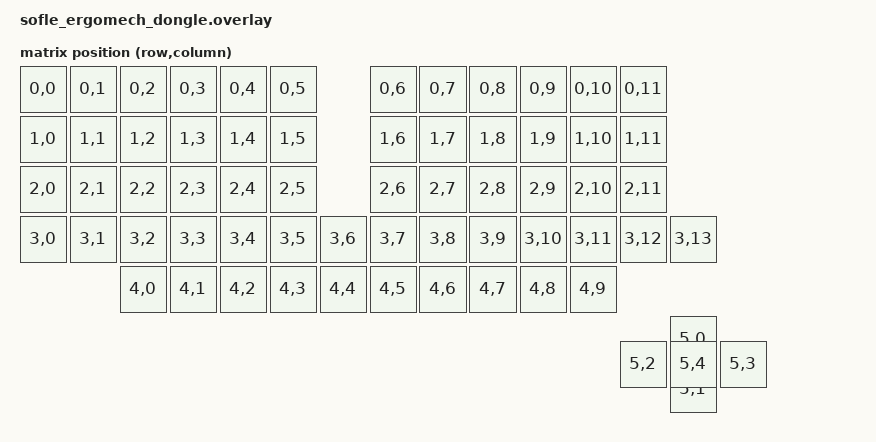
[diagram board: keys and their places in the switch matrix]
#include <dt-bindings/zmk/matrix_transform.h>

/ {
    chosen {
        zmk,kscan = &mock_kscan;
        zmk,matrix-transform = &default_transform;
        zmk,physical-layout = &physical_layout;
    };

    mock_kscan: mock_kscan_0 {
        compatible = "zmk,kscan-mock";
        columns = <0>;
        rows = <0>;
        events = <0>;
    };

    default_transform: keymap_transform_0 {
        compatible = "zmk,matrix-transform";
        columns = <14>;
        rows = <8>;
        map = <
            // Left side (6x4 main keys + encoder/5-way switch)
            RC(0,0) RC(0,1) RC(0,2) RC(0,3) RC(0,4) RC(0,5)                     RC(0,6) RC(0,7) RC(0,8) RC(0,9) RC(0,10) RC(0,11)
            RC(1,0) RC(1,1) RC(1,2) RC(1,3) RC(1,4) RC(1,5)                     RC(1,6) RC(1,7) RC(1,8) RC(1,9) RC(1,10) RC(1,11)
            RC(2,0) RC(2,1) RC(2,2) RC(2,3) RC(2,4) RC(2,5)                     RC(2,6) RC(2,7) RC(2,8) RC(2,9) RC(2,10) RC(2,11)
            RC(3,0) RC(3,1) RC(3,2) RC(3,3) RC(3,4) RC(3,5) RC(3,6)     RC(3,7) RC(3,8) RC(3,9) RC(3,10) RC(3,11) RC(3,12) RC(3,13)
                            RC(4,0) RC(4,1) RC(4,2) RC(4,3) RC(4,4)     RC(4,5) RC(4,6) RC(4,7) RC(4,8) RC(4,9)
                                                                        RC(5,0) RC(5,1) RC(5,2) RC(5,3) RC(5,4)
        >;
    };

    physical_layout: physical_layout_0 {
        compatible = "zmk,physical-layout";
        display-name = "Default Layout";
        transform = <&default_transform>;
        
        keys = <
            // Row 0 (top row)
            &key_physical_attrs 100 100   0   0 0 0 0
            &key_physical_attrs 100 100 100   0 0 0 0
            &key_physical_attrs 100 100 200   0 0 0 0
            &key_physical_attrs 100 100 300   0 0 0 0
            &key_physical_attrs 100 100 400   0 0 0 0
            &key_physical_attrs 100 100 500   0 0 0 0
            &key_physical_attrs 100 100 700   0 0 0 0
            &key_physical_attrs 100 100 800   0 0 0 0
            &key_physical_attrs 100 100 900   0 0 0 0
            &key_physical_attrs 100 100 1000  0 0 0 0
            &key_physical_attrs 100 100 1100  0 0 0 0
            &key_physical_attrs 100 100 1200  0 0 0 0
            // Row 1
            &key_physical_attrs 100 100   0 100 0 0 0
            &key_physical_attrs 100 100 100 100 0 0 0
            &key_physical_attrs 100 100 200 100 0 0 0
            &key_physical_attrs 100 100 300 100 0 0 0
            &key_physical_attrs 100 100 400 100 0 0 0
            &key_physical_attrs 100 100 500 100 0 0 0
            &key_physical_attrs 100 100 700 100 0 0 0
            &key_physical_attrs 100 100 800 100 0 0 0
            &key_physical_attrs 100 100 900 100 0 0 0
            &key_physical_attrs 100 100 1000 100 0 0 0
            &key_physical_attrs 100 100 1100 100 0 0 0
            &key_physical_attrs 100 100 1200 100 0 0 0
            // Row 2
            &key_physical_attrs 100 100   0 200 0 0 0
            &key_physical_attrs 100 100 100 200 0 0 0
            &key_physical_attrs 100 100 200 200 0 0 0
            &key_physical_attrs 100 100 300 200 0 0 0
            &key_physical_attrs 100 100 400 200 0 0 0
            &key_physical_attrs 100 100 500 200 0 0 0
            &key_physical_attrs 100 100 700 200 0 0 0
            &key_physical_attrs 100 100 800 200 0 0 0
            &key_physical_attrs 100 100 900 200 0 0 0
            &key_physical_attrs 100 100 1000 200 0 0 0
            &key_physical_attrs 100 100 1100 200 0 0 0
            &key_physical_attrs 100 100 1200 200 0 0 0
            // Row 3 (with encoder/5-way switch)
            &key_physical_attrs 100 100   0 300 0 0 0
            &key_physical_attrs 100 100 100 300 0 0 0
            &key_physical_attrs 100 100 200 300 0 0 0
            &key_physical_attrs 100 100 300 300 0 0 0
            &key_physical_attrs 100 100 400 300 0 0 0
            &key_physical_attrs 100 100 500 300 0 0 0
            &key_physical_attrs 100 100 600 300 0 0 0  // Left encoder
            &key_physical_attrs 100 100 700 300 0 0 0  // Right encoder
            &key_physical_attrs 100 100 800 300 0 0 0
            &key_physical_attrs 100 100 900 300 0 0 0
            &key_physical_attrs 100 100 1000 300 0 0 0
            &key_physical_attrs 100 100 1100 300 0 0 0
            &key_physical_attrs 100 100 1200 300 0 0 0
            &key_physical_attrs 100 100 1300 300 0 0 0
            // Row 4 (thumb cluster)
            &key_physical_attrs 100 100 200 400 0 0 0
            &key_physical_attrs 100 100 300 400 0 0 0
            &key_physical_attrs 100 100 400 400 0 0 0
            &key_physical_attrs 100 100 500 400 0 0 0
            &key_physical_attrs 100 100 600 400 0 0 0
            &key_physical_attrs 100 100 700 400 0 0 0
            &key_physical_attrs 100 100 800 400 0 0 0
            &key_physical_attrs 100 100 900 400 0 0 0
            &key_physical_attrs 100 100 1000 400 0 0 0
            &key_physical_attrs 100 100 1100 400 0 0 0
            // 5-way switch directions
            &key_physical_attrs 100 100 1300 500 0 0 0  // Up
            &key_physical_attrs 100 100 1300 600 0 0 0  // Down
            &key_physical_attrs 100 100 1200 550 0 0 0  // Left
            &key_physical_attrs 100 100 1400 550 0 0 0  // Right
            &key_physical_attrs 100 100 1300 550 0 0 0  // Center
        >;
    };
};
